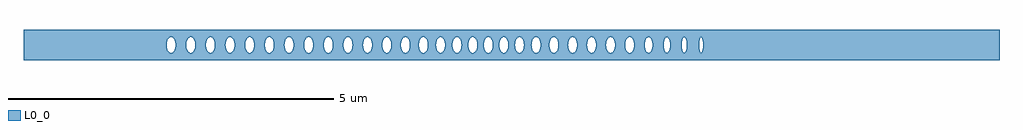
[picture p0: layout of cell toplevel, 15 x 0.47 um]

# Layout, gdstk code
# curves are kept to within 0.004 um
import gdstk
lib = gdstk.Library(unit=1e-6, precision=1e-09)
def P(c, l, *ps):  # polygons
    for p in ps: c.add(gdstk.Polygon(p, *l))
L0_0 = (0, 0)

toplevel = lib.new_cell('toplevel')
P(toplevel, L0_0, [(-4.697,0.016),(-4.685,0.073),(-4.672,0.096),(-4.672,0.235),(-7.5,0.235),(-7.5,-0.016),(-5.302,-0.016),(-5.299,0.038),(-5.289,0.073),(-5.266,0.109),(-5.236,0.124),(-5.21,0.118),(-5.18,0.085),(-5.163,0.031),(-5.162,-0.016),(-5,-0.016),(-4.997,0.038),(-4.987,0.073),(-4.964,0.109),(-4.934,0.124),(-4.908,0.118),(-4.881,0.09),(-4.864,0.046),(-4.859,0.008),(-4.861,-0.031),(-4.875,-0.079),(-4.896,-0.109),(-4.925,-0.124),(-4.951,-0.118),(-4.975,-0.096),(-4.987,-0.073),(-5,-0.016),(-5.162,-0.016),(-5.166,-0.046),(-5.183,-0.09),(-5.198,-0.109),(-5.227,-0.124),(-5.253,-0.118),(-5.277,-0.096),(-5.289,-0.073),(-5.302,-0.016),(-7.5,-0.016),(-7.5,-0.235),(-4.672,-0.235),(-4.672,-0.096),(-4.695,-0.038)],
  [(-4.093,0.016),(-4.085,0.06),(-4.065,0.1),(-4.037,0.122),(-4.01,0.122),(-4.01,0.235),(-4.672,0.235),(-4.672,0.096),(-4.658,0.112),(-4.632,0.124),(-4.614,0.122),(-4.594,0.109),(-4.566,0.06),(-4.557,-0.008),(-4.396,-0.008),(-4.394,0.031),(-4.38,0.079),(-4.359,0.109),(-4.33,0.124),(-4.304,0.118),(-4.277,0.09),(-4.26,0.046),(-4.255,0.008),(-4.258,-0.038),(-4.268,-0.073),(-4.295,-0.112),(-4.321,-0.124),(-4.347,-0.118),(-4.374,-0.09),(-4.391,-0.046),(-4.396,-0.008),(-4.557,-0.008),(-4.568,-0.066),(-4.594,-0.109),(-4.614,-0.122),(-4.632,-0.124),(-4.658,-0.112),(-4.672,-0.096),(-4.672,-0.235),(-4.01,-0.235),(-4.01,-0.122),(-4.028,-0.124),(-4.045,-0.118),(-4.072,-0.09),(-4.092,-0.031)],
  [(-3.489,0.016),(-3.471,0.085),(-3.453,0.109),(-3.424,0.124),(-3.406,0.122),(-3.381,0.105),(-3.354,0.046),(-3.354,0.235),(-4.01,0.235),(-4.01,0.122),(-3.989,0.109),(-3.966,0.073),(-3.956,0.038),(-3.953,-0.008),(-3.792,-0.008),(-3.79,0.031),(-3.776,0.079),(-3.755,0.109),(-3.726,0.124),(-3.7,0.118),(-3.676,0.096),(-3.664,0.073),(-3.651,0.016),(-3.654,-0.038),(-3.664,-0.073),(-3.687,-0.109),(-3.717,-0.124),(-3.743,-0.118),(-3.77,-0.09),(-3.787,-0.046),(-3.792,-0.008),(-3.953,-0.008),(-3.966,-0.073),(-3.989,-0.109),(-4.01,-0.122),(-4.01,-0.235),(-3.354,-0.235),(-3.354,-0.046),(-3.362,-0.073),(-3.385,-0.109),(-3.41,-0.123),(-3.437,-0.12),(-3.461,-0.1),(-3.479,-0.066)],
  [(-3.35,-0.023),(-3.354,-0.235),(-2.579,-0.235),(-2.579,0.235),(-3.354,0.235),(-3.354,0.045),(-3.349,0),(-3.188,0),(-3.183,0.046),(-3.169,0.085),(-3.151,0.109),(-3.122,0.124),(-3.095,0.118),(-3.072,0.096),(-3.053,0.053),(-3.047,0),(-2.886,0),(-2.877,0.06),(-2.857,0.1),(-2.828,0.122),(-2.793,0.118),(-2.77,0.096),(-2.753,0.06),(-2.745,-0.016),(-2.751,-0.053),(-2.764,-0.085),(-2.781,-0.109),(-2.802,-0.122),(-2.833,-0.12),(-2.86,-0.096),(-2.881,-0.046),(-2.886,0),(-3.047,0),(-3.053,-0.053),(-3.066,-0.085),(-3.083,-0.109),(-3.113,-0.124),(-3.139,-0.118),(-3.169,-0.085),(-3.183,-0.046),(-3.188,0),(-3.349,0)],
  [(-2.575,0.06),(-2.547,0.109),(-2.526,0.122),(-2.504,0.123),(-2.475,0.105),(-2.456,0.073),(-2.446,0.038),(-2.443,-0.008),(-2.283,-0.008),(-2.278,0.046),(-2.264,0.085),(-2.234,0.118),(-2.208,0.124),(-2.178,0.109),(-2.155,0.073),(-2.145,0.038),(-2.142,-0.016),(-2.155,-0.073),(-2.167,-0.096),(-2.186,-0.115),(-2.208,-0.124),(-2.234,-0.118),(-2.261,-0.09),(-2.278,-0.046),(-2.283,-0.008),(-2.443,-0.008),(-2.449,-0.053),(-2.468,-0.096),(-2.491,-0.118),(-2.509,-0.124),(-2.531,-0.12),(-2.551,-0.105),(-2.579,-0.046),(-2.579,-0.235),(-1.926,-0.235),(-1.926,-0.123),(-1.962,-0.096),(-1.974,-0.073),(-1.987,-0.016),(-1.984,0.038),(-1.974,0.073),(-1.951,0.109),(-1.926,0.123),(-1.926,0.235),(-2.579,0.235),(-2.579,0.046)],
  [(-1.424,0.016),(-1.409,0.079),(-1.376,0.118),(-1.359,0.124),(-1.341,0.122),(-1.32,0.109),(-1.303,0.085),(-1.303,0.235),(-1.926,0.235),(-1.926,0.123),(-1.895,0.118),(-1.865,0.085),(-1.848,0.031),(-1.847,-0.016),(-1.7,-0.016),(-1.697,0.038),(-1.687,0.073),(-1.664,0.109),(-1.634,0.124),(-1.608,0.118),(-1.585,0.096),(-1.568,0.06),(-1.56,0.016),(-1.564,-0.046),(-1.573,-0.073),(-1.596,-0.109),(-1.626,-0.124),(-1.652,-0.118),(-1.675,-0.096),(-1.692,-0.06),(-1.7,-0.016),(-1.847,-0.016),(-1.855,-0.06),(-1.872,-0.096),(-1.895,-0.118),(-1.926,-0.123),(-1.926,-0.235),(-1.303,-0.235),(-1.303,-0.085),(-1.32,-0.109),(-1.341,-0.122),(-1.368,-0.122),(-1.388,-0.109),(-1.416,-0.06),(-1.424,-0.023)],
  [(-0.665,-0.008),(-0.664,0.235),(-1.303,0.235),(-1.303,0.085),(-1.287,0.038),(-1.284,-0.016),(-1.161,-0.016),(-1.158,0.038),(-1.148,0.073),(-1.125,0.109),(-1.095,0.124),(-1.069,0.118),(-1.042,0.09),(-1.025,0.046),(-1.02,0),(-0.909,0),(-0.904,0.046),(-0.889,0.085),(-0.872,0.109),(-0.843,0.124),(-0.816,0.118),(-0.793,0.096),(-0.776,0.06),(-0.768,0.016),(-0.771,-0.038),(-0.781,-0.073),(-0.804,-0.109),(-0.834,-0.124),(-0.86,-0.118),(-0.883,-0.096),(-0.904,-0.046),(-0.909,0),(-1.02,0),(-1.025,-0.046),(-1.039,-0.085),(-1.057,-0.109),(-1.086,-0.124),(-1.112,-0.118),(-1.136,-0.096),(-1.148,-0.073),(-1.161,-0.016),(-1.284,-0.016),(-1.303,-0.085),(-1.303,-0.235),(-0.664,-0.235)],
  [(-0.661,0.038),(-0.649,0.079),(-0.632,0.105),(-0.608,0.122),(-0.581,0.122),(-0.56,0.109),(-0.537,0.073),(-0.526,0.031),(-0.525,-0.016),(-0.426,-0.016),(-0.423,0.038),(-0.407,0.085),(-0.378,0.118),(-0.351,0.124),(-0.322,0.109),(-0.304,0.085),(-0.29,0.046),(-0.285,0),(-0.29,-0.046),(-0.304,-0.085),(-0.322,-0.109),(-0.351,-0.124),(-0.378,-0.118),(-0.401,-0.096),(-0.418,-0.06),(-0.426,-0.016),(-0.525,-0.016),(-0.529,-0.046),(-0.546,-0.09),(-0.56,-0.109),(-0.59,-0.124),(-0.616,-0.118),(-0.639,-0.096),(-0.654,-0.066),(-0.664,-0.023),(-0.664,-0.235),(-0.16,-0.235),(-0.16,-0.1),(-0.176,-0.073),(-0.189,-0.016),(-0.186,0.038),(-0.176,0.073),(-0.16,0.1),(-0.16,0.235),(-0.664,0.235)],
  [(-0.153,0.109),(-0.132,0.122),(-0.114,0.124),(-0.081,0.105),(-0.057,0.06),(-0.048,0),(0.052,0),(0.057,0.046),(0.078,0.096),(0.105,0.12),(0.136,0.122),(0.161,0.105),(0.18,0.073),(0.19,0.038),(0.193,-0.016),(0.185,-0.06),(0.168,-0.096),(0.145,-0.118),(0.118,-0.124),(0.089,-0.109),(0.071,-0.085),(0.057,-0.046),(0.052,0),(-0.048,0),(-0.059,-0.066),(-0.085,-0.109),(-0.105,-0.122),(-0.123,-0.124),(-0.145,-0.115),(-0.16,-0.1),(-0.16,-0.235),(0.391,-0.235),(0.391,-0.122),(0.36,-0.12),(0.333,-0.096),(0.312,-0.046),(0.307,0),(0.312,0.046),(0.333,0.096),(0.36,0.12),(0.391,0.122),(0.391,0.235),(-0.16,0.235),(-0.16,0.1)],
  [(0.869,0.016),(0.887,0.085),(0.905,0.109),(0.926,0.122),(0.952,0.122),(0.973,0.109),(0.998,0.066),(0.998,0.235),(0.391,0.235),(0.391,0.122),(0.416,0.105),(0.435,0.073),(0.445,0.038),(0.448,-0.008),(0.581,-0.008),(0.583,0.031),(0.597,0.079),(0.618,0.109),(0.647,0.124),(0.678,0.115),(0.7,0.09),(0.717,0.046),(0.722,0.008),(0.719,-0.038),(0.709,-0.073),(0.686,-0.109),(0.656,-0.124),(0.63,-0.118),(0.603,-0.09),(0.586,-0.046),(0.581,-0.008),(0.448,-0.008),(0.435,-0.073),(0.416,-0.105),(0.391,-0.122),(0.391,-0.235),(0.998,-0.235),(0.998,-0.066),(0.984,-0.096),(0.961,-0.118),(0.943,-0.124),(0.917,-0.118),(0.894,-0.096),(0.879,-0.066)],
  [(1.007,-0.031),(0.998,-0.066),(0.998,-0.235),(1.749,-0.235),(1.749,0.235),(0.998,0.235),(0.998,0.066),(1.007,0.031),(1.009,-0.016),(1.16,-0.016),(1.163,0.038),(1.173,0.073),(1.196,0.109),(1.226,0.124),(1.252,0.118),(1.279,0.09),(1.296,0.046),(1.301,0),(1.451,0),(1.46,0.06),(1.48,0.1),(1.509,0.122),(1.544,0.118),(1.567,0.096),(1.584,0.06),(1.592,-0.016),(1.586,-0.053),(1.573,-0.085),(1.556,-0.109),(1.535,-0.122),(1.504,-0.12),(1.477,-0.096),(1.456,-0.046),(1.451,0),(1.301,0),(1.296,-0.046),(1.282,-0.085),(1.264,-0.109),(1.235,-0.124),(1.209,-0.118),(1.185,-0.096),(1.173,-0.073),(1.16,-0.016),(1.009,-0.016)],
  [(2.338,0.015),(2.345,0.065),(2.358,0.099),(2.378,0.12),(2.397,0.12),(2.397,0.235),(1.749,0.235),(1.749,0.038),(1.771,0.096),(1.795,0.118),(1.821,0.124),(1.85,0.109),(1.871,0.079),(1.885,0.031),(1.886,-0.015),(2.048,-0.015),(2.053,0.052),(2.064,0.084),(2.089,0.117),(2.112,0.123),(2.134,0.111),(2.15,0.09),(2.163,0.052),(2.169,0.008),(2.166,-0.038),(2.15,-0.09),(2.134,-0.111),(2.112,-0.123),(2.089,-0.117),(2.067,-0.09),(2.053,-0.052),(2.048,-0.015),(1.886,-0.015),(1.868,-0.085),(1.85,-0.109),(1.821,-0.124),(1.795,-0.118),(1.771,-0.096),(1.749,-0.038),(1.749,-0.235),(2.397,-0.235),(2.397,-0.12),(2.372,-0.116),(2.353,-0.089),(2.342,-0.052)],
  [(2.436,-0.038),(2.423,-0.089),(2.397,-0.12),(2.397,-0.235),(7.5,-0.235),(7.5,0.235),(2.397,0.235),(2.397,0.12),(2.418,0.099),(2.429,0.072),(2.438,0.023),(2.438,-0.023),(2.615,-0.023),(2.615,0.023),(2.624,0.077),(2.638,0.11),(2.653,0.121),(2.673,0.11),(2.685,0.083),(2.696,-0.008),(2.884,-0.008),(2.891,0.076),(2.9,0.105),(2.913,0.12),(2.927,0.112),(2.942,0.058),(2.944,-0.044),(2.932,-0.101),(2.917,-0.12),(2.904,-0.112),(2.894,-0.087),(2.884,-0.008),(2.696,-0.008),(2.685,-0.083),(2.673,-0.11),(2.658,-0.121),(2.64,-0.113),(2.632,-0.098),(2.615,-0.023),(2.438,-0.023)])

lib.write_gds('toplevel.gds')
